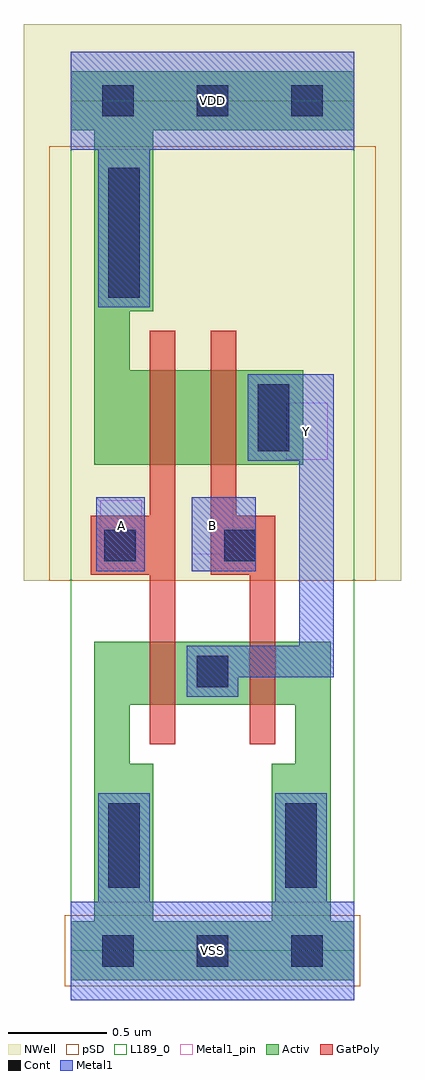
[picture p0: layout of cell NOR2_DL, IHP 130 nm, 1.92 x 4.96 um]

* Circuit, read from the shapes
.subckt NOR2_DL A B VDD VSS Y
XM1 Y A VSS VSS sg13_lv_nmos w=0.32u l=0.13u
XM2 VSS B Y VSS sg13_lv_nmos w=0.32u l=0.13u
XM3 n1 A VDD VDD sg13_lv_pmos w=0.48u l=0.13u
XM4 Y B n1 VDD sg13_lv_pmos w=0.48u l=0.13u
.ends

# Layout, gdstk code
import gdstk
lib = gdstk.Library(unit=1e-6, precision=1e-09)
def R(c, l, rs):  # rectangles x0, y0, x1, y1
    for r in rs: c.add(gdstk.rectangle(r[:2], r[2:], *l))
def A(c, l, x, y, w, h, nx, ny, dx, dy):  # array of equal rectangles
    R(c, l, [(x+i*dx, y+j*dy, x+i*dx+w, y+j*dy+h) for i in range(nx) for j in range(ny)])
def P(c, l, *ps):  # polygons
    for p in ps: c.add(gdstk.Polygon(p, *l))
Activ = (1, 0)
GatPoly = (5, 0)
Cont = (6, 0)
Metal1 = (8, 0)
Metal1_pin = (8, 2)
pSD = (14, 0)
NWell = (31, 0)
L189_0 = (189, 0)

nor2_dl = lib.new_cell('NOR2_DL')
P(nor2_dl, Activ, [(0.12,2.47),(0.12,4.17),(0,4.17),(0,4.47),(1.44,4.47),(1.44,4.17),(0.42,4.17),(0.42,3.25),(0.3,3.25),(0.3,2.95),(1.18,2.95),(1.18,2.47)],
  [(0,-0.15),(0,0.15),(0.12,0.15),(0.12,0.95),(0.3,0.95),(0.42,0.95),(0.42,0.15),(1.02,0.15),(1.02,0.95),(1.14,0.95),(1.14,1.25),(0.3,1.25),(0.3,0.95),(0.12,0.95),(0.12,1.57),(1.32,1.57),(1.32,0.15),(1.44,0.15),(1.44,-0.15)])
P(nor2_dl, GatPoly, [(0.4,1.05),(0.4,1.91),(0.1,1.91),(0.1,2.21),(0.4,2.21),(0.4,3.15),(0.53,3.15),(0.53,1.05)],
  [(0.91,1.05),(0.91,1.91),(0.71,1.91),(0.71,3.15),(0.84,3.15),(0.84,2.21),(1.04,2.21),(1.04,1.05)])
A(nor2_dl, Cont, 0.16, -0.08, 0.16, 0.16, 3, 2, 0.48, 4.32)
R(nor2_dl, Cont, [(0.19,0.32,0.35,0.75), (1.09,0.32,1.25,0.75), (0.64,1.34,0.8,1.5), (0.17,1.98,0.33,2.14), (0.78,1.98,0.94,2.14), (0.95,2.54,1.11,2.88), (0.19,3.32,0.35,3.98)])
R(nor2_dl, Metal1, [(0.13,1.93,0.375,2.305), (0.615,1.93,0.94,2.305)])
P(nor2_dl, Metal1, [(0.14,3.27),(0.14,4.07),(0,4.07),(0,4.57),(1.44,4.57),(1.44,4.07),(0.4,4.07),(0.4,3.27)],
  [(0.59,1.29),(0.59,1.55),(1.16,1.55),(1.16,2.49),(0.9,2.49),(0.9,2.93),(1.335,2.93),(1.335,1.39),(0.85,1.39),(0.85,1.29)],
  [(0,-0.25),(0,0.25),(0.14,0.25),(0.14,0.8),(0.4,0.8),(0.4,0.25),(1.04,0.25),(1.04,0.8),(1.3,0.8),(1.3,0.25),(1.44,0.25),(1.44,-0.25)])
R(nor2_dl, Metal1_pin, [(0,-0.25,1.44,0.25), (0.15,2.015,0.36,2.29), (0.615,2.015,0.825,2.305), (1.095,2.495,1.305,2.785), (0,4.07,1.44,4.57)])
R(nor2_dl, pSD, [(-0.03,-0.18,1.47,0.18), (-0.11,1.88,1.55,4.09)])
R(nor2_dl, NWell, [(-0.24,1.88,1.68,4.71)])
R(nor2_dl, L189_0, [(0,0,1.44,4.32)])
nor2_dl.add(gdstk.Label('VDD', (0.72,4.32), layer=8, texttype=25))
nor2_dl.add(gdstk.Label('VSS', (0.72,0), layer=8, texttype=25))
nor2_dl.add(gdstk.Label('Y', (1.2,2.64), layer=8, texttype=25))
nor2_dl.add(gdstk.Label('A', (0.255,2.16), layer=8, texttype=25))
nor2_dl.add(gdstk.Label('B', (0.72,2.16), layer=8, texttype=25))

lib.write_gds('NOR2_DL.gds')
